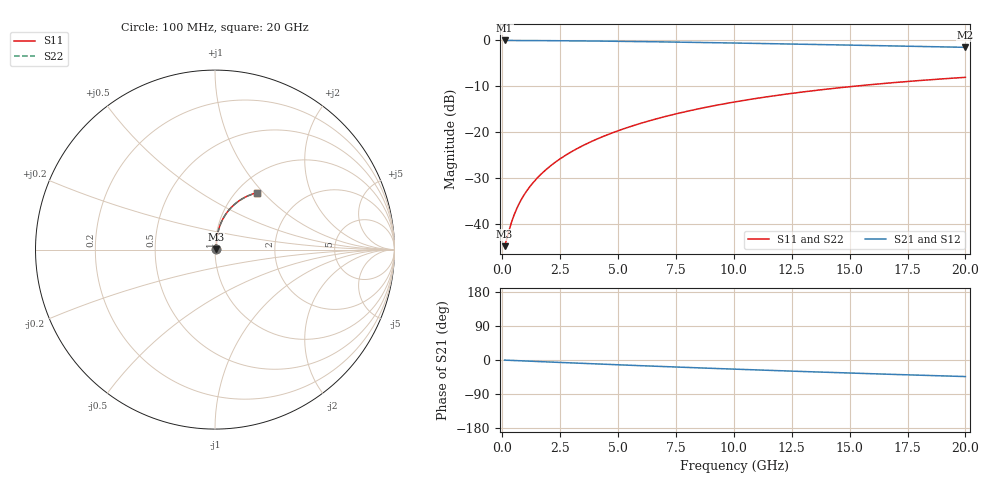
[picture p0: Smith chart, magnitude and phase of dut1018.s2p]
! Touchstone file exported from HFSS 2024.1.0
!  File:  C:/UserFiles/LocalFiles/RDL_TSV_Batchsim/temp_RDL_top_1018_1780043063.aedt
!  Generated:  04:27:05 PM May 29, 2026
!  Design:  RDL_top
!  Project:  temp_RDL_top_1018_1780043063
!  Setup:  Setup1
!  Solution:  Sweep
! Variables:
!  dtsv = 10.80580581um
!  hbump = 3um
!  htsv = 90.08um
!  ldown = 100um
!  lrdl = 607.95um
!  p = 40
!  p1 = 47.06um
!  rhole = 1um
!  t = 450um
!  tdown = 3.915915916um
!  trdl = 2.08um
!  wdown = 15.38538539um
!  wrdl = 20.72um
# GHz S MA R 50.000000
! Terminal data exported
! Port[1] = Box2_T1
! Port[2] = Box2_T2
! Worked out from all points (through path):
!   200 points, 100 MHz to 20 GHz, reference 50 ohm
!   highest |S21| = -0.05 dB at 100 MHz (marker M1); lowest = -1.5 dB at 20 GHz (marker M2)
!   group delay of S21, straight-line fit = 6.05 ps
!   lowest |S11| = -44.8 dB at 100 MHz (marker M3), VSWR 1.01, Z = 50.5 + j0.227 ohm
!   |S11| at or under -10 dB: start of sweep to 15.22 GHz
!   |S22| runs from -44.8 to -8.1 dB; largest |S21 - S12| = 2.5e-15
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0.1  0.005737 23.1  0.9947 -0.3  0.9947 -0.3  0.005737 23.1
! Gamma 0 0 0 0
! Port Impedance 50 0 50 0
0.4  0.01048 56.7  0.9942 -1.1  0.9942 -1.1  0.01048 56.7
0.5  0.01236 61.1  0.9939 -1.3  0.9939 -1.3  0.01236 61.1
0.6  0.01425 64.4  0.9937 -1.6  0.9937 -1.6  0.01425 64.4
0.7  0.01615 66.8  0.9934 -1.9  0.9934 -1.9  0.01615 66.8
0.9  0.01995 70.3  0.9929 -2.4  0.9929 -2.4  0.01995 70.3
1.2  0.02568 73.8  0.9921 -3.2  0.9921 -3.2  0.02568 73.8
1.4  0.02953 75.4  0.9916 -3.7  0.9916 -3.7  0.02953 75.4
1.7  0.03537 77.1  0.9907 -4.4  0.9907 -4.4  0.03537 77.1
2.2  0.04525 78.9  0.989 -5.7  0.989 -5.7  0.04525 78.9
2.8  0.05735 80.1  0.9866 -7.2  0.9866 -7.2  0.05734 80.0
3.5  0.07175 80.6  0.9832 -9.0  0.9832 -9.0  0.07174 80.6
4.2  0.08643 80.5  0.9792 -10.7  0.9792 -10.7  0.08642 80.5
5  0.1035 80.1  0.9741 -12.7  0.9741 -12.7  0.1035 80.1
5.9  0.123 79.2  0.9676 -14.8  0.9676 -14.8  0.123 79.2
6.8  0.1427 78.0  0.9607 -16.9  0.9607 -16.9  0.1426 78.0
8.4  0.1777 75.5  0.9473 -20.6  0.9473 -20.6  0.1777 75.4
10.1  0.2144 72.4  0.932 -24.3  0.932 -24.3  0.2144 72.3
11.7  0.2479 69.3  0.9171 -27.7  0.9171 -27.7  0.2478 69.3
13.4  0.2819 65.9  0.9008 -31.2  0.9008 -31.2  0.2818 65.9
16.7  0.3423 59.5  0.8689 -37.7  0.8689 -37.7  0.3422 59.5
20  0.3948 53.4  0.8374 -43.7  0.8374 -43.7  0.3947 53.4
